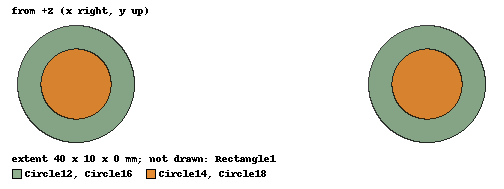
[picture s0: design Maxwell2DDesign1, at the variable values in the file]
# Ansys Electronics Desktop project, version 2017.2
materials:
  vacuum: permittivity=1
  copper: permeability=0.999991 conductivity=58000000
  air: permittivity=1.0006 permeability=1.0000004
  Teflon (tm): permittivity=2.1 dielectric_loss_tangent=0.001

design Maxwell2DDesign1 (Maxwell 2D, Electrostatic, XY geometry, model units mm)
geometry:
  Circle12 [Teflon (tm)] = circle(normal=Z, centre=(15mm, 10mm, 0mm), radius=5mm)
  Circle13 = circle(normal=Z, centre=(15mm, 10mm, 0mm), radius=3mm)
  Circle12.subtract(Circle13)
  Circle14 [copper] = circle(normal=Z, centre=(15mm, 10mm, 0mm), radius=3mm)
  Circle16 [Teflon (tm)] = circle(normal=Z, centre=(-15mm, 10mm, 0mm), radius=5mm)
  Circle17 = circle(normal=Z, centre=(-15mm, 10mm, 0mm), radius=3mm)
  Circle16.subtract(Circle17)
  Circle18 [copper] = circle(normal=Z, centre=(-15mm, 10mm, 0mm), radius=3mm)
  Rectangle1 [air] = rectangle(corner=(40mm, -16mm, 0mm), x_size=-80mm, y_size=52mm)
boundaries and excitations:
  Balloon1: Balloon Edges=Rectangle1.edge(all 4) IsOfTypeVoltage=false
  Voltage1: Voltage Objects=Circle18 Value=1V
  Voltage2: Voltage Objects=Circle14 Value=-1V
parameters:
  Matrix1: Matrix GroundSources(18); Voltage1: NumberOfTurns=1
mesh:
  initial mesh: GlobalSurfApproximation{CurvedSurfaceApproxChoice=UseSlider SliderMeshSettings=9} MeshMethod=AnsoftClassic
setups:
  Setup1: Electrostatic MaximumPasses=10 MinimumPasses=2 MinimumConvergedPasses=1 PercentRefinement=30 PercentError=0.1 NonLinearResidual=0.001
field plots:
  Voltage1: Voltage over Rectangle1 on Setup1 : LastAdaptive
